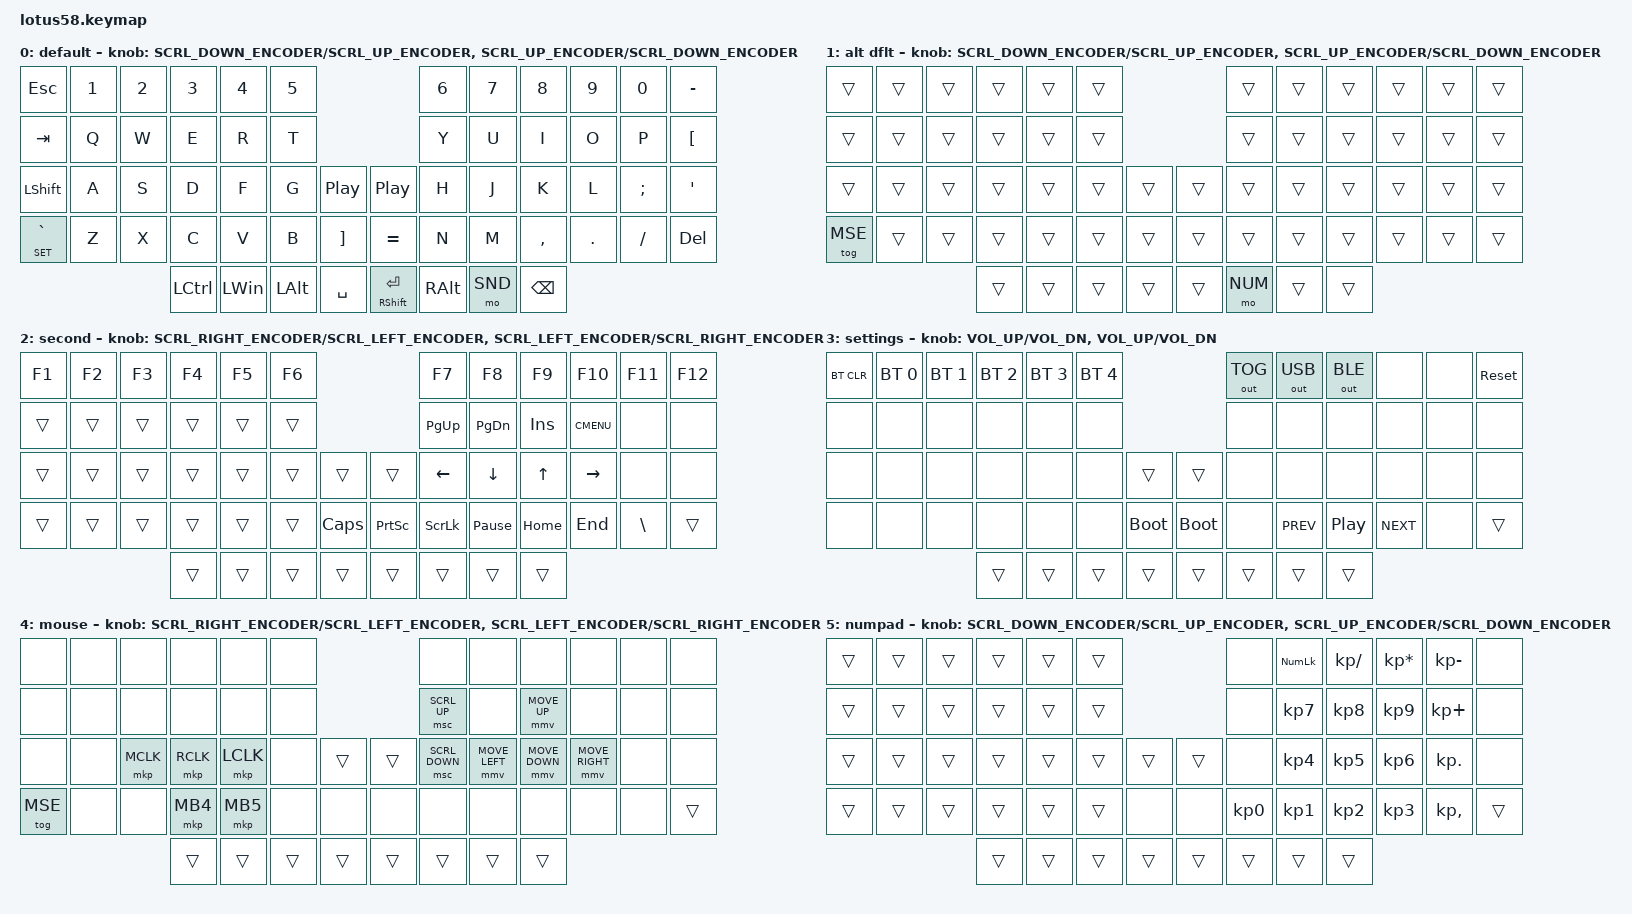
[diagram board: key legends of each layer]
#include <dt-bindings/zmk/matrix_transform.h>
#include "mouse.dtsi"
#include <behaviors.dtsi>
#include <dt-bindings/zmk/bt.h>
#include <dt-bindings/zmk/keys.h>
#include <dt-bindings/zmk/outputs.h>
#include <dt-bindings/zmk/pointing.h>

// Layers defines

#define DEF  0
#define ALT  1
#define SND  2
#define SET  3
#define MSE  4
#define NUM  5

//  -----------------------------  Keys positions  -----------------------------
// | 0  | 1  | 2  | 3  | 4  | 5  |  |30|    |31|  | 6  | 7  | 8  | 9  | 10 | 11 |
// | 12 | 13 | 14 | 15 | 16 | 17 |                | 18 | 19 | 20 | 21 | 22 | 23 |
// | 24 | 25 | 26 | 27 | 28 | 29 |  ----    ----  | 32 | 33 | 34 | 35 | 36 | 37 |
// | 38 | 39 | 40 | 41 | 42 | 43 | | 44 |  | 45 | | 46 | 47 | 48 | 49 | 50 | 51 |
//  --------- | 52 | 53 | 54 |/ 55 /----    ----\ 56 \| 57 | 58 | 59 | ---------
//            -------------- -----               ----- --------------

/ {
    combos {
        compatible = "zmk,combos";

        combo_alt_def {
            timeout-ms = <100>;
            key-positions = <38 58>;
            bindings = <&tog ALT>;
        };
    };

    keymap {
        compatible = "zmk,keymap";

        default_layer {
            label = "default";
            bindings = <
&kp ESC        &kp N1  &kp N2  &kp N3     &kp N4        &kp N5                                                  &kp N6         &kp N7   &kp N8         &kp N9   &kp N0    &kp MINUS
&kp TAB        &kp Q   &kp W   &kp E      &kp R         &kp T                                                   &kp Y          &kp U    &kp I          &kp O    &kp P     &kp LBKT
&kp LSHFT      &kp A   &kp S   &kp D      &kp F         &kp G         &kp C_PLAY_PAUSE   &kp C_PLAY_PAUSE       &kp H          &kp J    &kp K          &kp L    &kp SEMI  &kp SQT
&lt SET GRAVE  &kp Z   &kp X   &kp C      &kp V         &kp B         &kp RIGHT_BRACKET  &kp EQUAL              &kp N          &kp M    &kp COMMA      &kp DOT  &kp FSLH  &kp DEL
                               &kp LCTRL  &kp LEFT_WIN  &kp LEFT_ALT  &kp SPACE          &mt RIGHT_SHIFT ENTER  &kp RIGHT_ALT  &mo SND  &kp BACKSPACE
            >;

            sensor-bindings =
                <&inc_dec_msc SCRL_DOWN_ENCODER SCRL_UP_ENCODER>,
                <&inc_dec_msc SCRL_UP_ENCODER SCRL_DOWN_ENCODER>;
        };

        alt_default_layer {
            label = "alt dflt";
            bindings = <
&trans    &trans  &trans  &trans  &trans  &trans                  &trans   &trans  &trans  &trans  &trans  &trans
&trans    &trans  &trans  &trans  &trans  &trans                  &trans   &trans  &trans  &trans  &trans  &trans
&trans    &trans  &trans  &trans  &trans  &trans  &trans  &trans  &trans   &trans  &trans  &trans  &trans  &trans
&tog MSE  &trans  &trans  &trans  &trans  &trans  &trans  &trans  &trans   &trans  &trans  &trans  &trans  &trans
                          &trans  &trans  &trans  &trans  &trans  &mo NUM  &trans  &trans
            >;

            sensor-bindings =
                <&inc_dec_msc SCRL_DOWN_ENCODER SCRL_UP_ENCODER>,
                <&inc_dec_msc SCRL_UP_ENCODER SCRL_DOWN_ENCODER>;
        };

        second_layer {
            label = "second";
            bindings = <
&kp F1  &kp F2  &kp F3  &kp F4  &kp F5  &kp F6                              &kp F7     &kp F8           &kp F9    &kp F10      &kp F11        &kp F12
&trans  &trans  &trans  &trans  &trans  &trans                              &kp PG_UP  &kp PG_DN        &kp INS   &kp K_CMENU  &none          &none
&trans  &trans  &trans  &trans  &trans  &trans  &trans    &trans            &kp LEFT   &kp DOWN         &kp UP    &kp RIGHT    &none          &none
&trans  &trans  &trans  &trans  &trans  &trans  &kp CLCK  &kp PRINTSCREEN   &kp SLCK   &kp PAUSE_BREAK  &kp HOME  &kp END      &kp BACKSLASH  &trans
                        &trans  &trans  &trans  &trans    &trans            &trans     &trans           &trans
            >;

            sensor-bindings =
                <&inc_dec_msc SCRL_RIGHT_ENCODER SCRL_LEFT_ENCODER>,
                <&inc_dec_msc SCRL_LEFT_ENCODER SCRL_RIGHT_ENCODER>;
        };

        settings_layer {
            label = "settings";
            bindings = <
&bt BT_CLR  &bt BT_SEL 0  &bt BT_SEL 1  &bt BT_SEL 2  &bt BT_SEL 3  &bt BT_SEL 4                            &out OUT_TOG  &out OUT_USB  &out OUT_BLE      &none       &none  &sys_reset
&none       &none         &none         &none         &none         &none                                   &none         &none         &none             &none       &none  &none
&none       &none         &none         &none         &none         &none         &trans       &trans       &none         &none         &none             &none       &none  &none
&none       &none         &none         &none         &none         &none         &bootloader  &bootloader  &none         &kp C_PREV    &kp C_PLAY_PAUSE  &kp C_NEXT  &none  &trans
                                        &trans        &trans        &trans        &trans       &trans       &trans        &trans        &trans
            >;

            sensor-bindings =
                <&inc_dec_kp C_VOL_UP C_VOL_DN>,
                <&inc_dec_kp C_VOL_UP C_VOL_DN>;
        };

        mouse_layer {
            label = "mouse";
            bindings = <
&none     &none  &none      &none      &none      &none                   &none           &none           &none           &none            &none  &none
&none     &none  &none      &none      &none      &none                   &msc SCRL_UP    &none           &mmv MOVE_UP    &none            &none  &none
&none     &none  &mkp MCLK  &mkp RCLK  &mkp LCLK  &none   &trans  &trans  &msc SCRL_DOWN  &mmv MOVE_LEFT  &mmv MOVE_DOWN  &mmv MOVE_RIGHT  &none  &none
&tog MSE  &none  &none      &mkp MB4   &mkp MB5   &none   &none   &none   &none           &none           &none           &none            &none  &trans
                            &trans     &trans     &trans  &trans  &trans  &trans          &trans          &trans
            >;

            sensor-bindings =
                <&inc_dec_msc SCRL_RIGHT_ENCODER SCRL_LEFT_ENCODER>,
                <&inc_dec_msc SCRL_LEFT_ENCODER SCRL_RIGHT_ENCODER>;
        };

        numpad_layer {
            label = "numpad";
            bindings = <
&trans  &trans  &trans  &trans  &trans  &trans                  &none      &kp KP_NLCK  &kp KP_DIVIDE  &kp KP_MULTIPLY  &kp KP_MINUS  &none
&trans  &trans  &trans  &trans  &trans  &trans                  &none      &kp KP_N7    &kp KP_N8      &kp KP_N9        &kp KP_PLUS   &none
&trans  &trans  &trans  &trans  &trans  &trans  &trans  &trans  &none      &kp KP_N4    &kp KP_N5      &kp KP_N6        &kp KP_DOT    &none
&trans  &trans  &trans  &trans  &trans  &trans  &none   &none   &kp KP_N0  &kp KP_N1    &kp KP_N2      &kp KP_N3        &kp KP_COMMA  &trans
                        &trans  &trans  &trans  &trans  &trans  &trans     &trans       &trans
            >;

            sensor-bindings =
                <&inc_dec_msc SCRL_DOWN_ENCODER SCRL_UP_ENCODER>,
                <&inc_dec_msc SCRL_UP_ENCODER SCRL_DOWN_ENCODER>;
        };
    };
};
